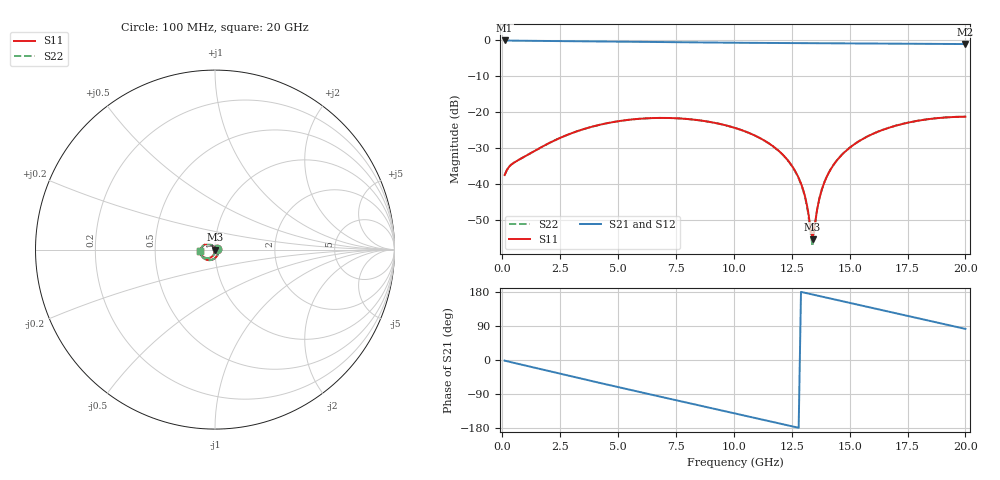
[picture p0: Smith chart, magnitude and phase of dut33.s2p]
! Touchstone file exported from HFSS 2026.1.0
!  File:  C:/ffzhzh/LocalFiles/Ansys_Project_Files/temp_train_TSV_RDL_33_1782964521_45568.aedt
!  Generated:  12:03:21 PM Jul  2, 2026
!  Design:  TSV_RDL
!  Project:  temp_train_TSV_RDL_33_1782964521_45568
! Variables:
!  h_bsmrdl = 3.5um
!  h_ox = 20um
!  h_rdl = 5um
!  h_sub = 89.86um
!  h_tmrdl = 5.18um
!  h_tsv = 89.86um
!  h_via = 3um
!  l_bsmrdl = 119.8um
!  l_sub = 4625.98um
!  l_tmrdl = 930.81um
!  m_sub = 200um
!  pitch = 34.4um
!  r_tsv = 12.16um
!  s_tmrdl = 10um
!  w_bsmrdl = 18.03um
!  w_sub = 500um
!  w_tmrdl = 29.75um
!  x_tsv_center1 = 945.685um
!  x_tsv_center2 = 1083.515um
!  x_tsv_center3 = 2044.075um
!  x_tsv_center4 = 2181.905um
!  x_tsv_center5 = 3142.465um
!  x_tsv_center6 = 3280.295um
# GHz S MA R 50.000000
! Terminal data exported
! Port[1] = TM_RDL1_1_T1
! Port[2] = TM_RDL5_1_T1
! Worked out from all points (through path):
!   200 points, 100 MHz to 20 GHz, reference 50 ohm
!   highest |S21| = -0.11 dB at 100 MHz (marker M1); lowest = -1.1 dB at 20 GHz (marker M2)
!   group delay of S21, straight-line fit = 38.4 ps
!   lowest |S11| = -55.4 dB at 13.4 GHz (marker M3), VSWR 1.00, Z = 49.8 - j0.0384 ohm
!   |S11| at or under -10 dB: start of sweep to end of sweep
!   |S22| runs from -57.3 to -21.3 dB; largest |S21 - S12| = 2.9e-14
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0.1  0.01323 7.2  0.9869 -1.6  0.9869 -1.6  0.01323 7.2
! Gamma 0 0 0 0
! Port Impedance 50 0 50 0
0.6  0.02058 -20.2  0.9796 -8.9  0.9796 -8.9  0.02058 -20.2
2  0.03657 -71.3  0.9712 -29.1  0.9712 -29.1  0.03657 -71.3
3.5  0.05751 -104.3  0.9592 -50.4  0.9592 -50.4  0.05751 -104.3
5.2  0.07586 -134.9  0.9453 -74.3  0.9453 -74.3  0.07585 -134.9
6.8  0.08258 -161.0  0.9336 -96.4  0.9336 -96.4  0.08256 -161.0
8.4  0.07729 174.4  0.9242 -118.4  0.9242 -118.4  0.07725 174.3
10.1  0.05927 149.5  0.9167 -141.8  0.9167 -141.8  0.0592 149.3
11.5  0.03679 130.0  0.9118 -161.0  0.9118 -161.0  0.03669 129.6
12.5  0.01797 118.4  0.9086 -174.8  0.9086 -174.8  0.01783 117.4
12.9  0.0101 116.9  0.9073 179.7  0.9073 179.7  0.009941 115.1
13.1  0.006189 120.2  0.9066 176.9  0.9066 176.9  0.005991 117.4
13.2  0.00429 126.2  0.9063 175.6  0.9063 175.6  0.004054 122.3
13.4  0.001701 -166.9  0.9056 172.8  0.9056 172.8  0.001358 -161.1
13.6  0.004461 -105.2  0.905 170.0  0.905 170.0  0.004452 -100.3
13.7  0.006371 -99.7  0.9046 168.7  0.9046 168.7  0.006404 -96.3
13.9  0.0103 -96.6  0.9039 165.9  0.9039 165.9  0.01037 -94.4
14.2  0.01624 -97.4  0.9029 161.8  0.9029 161.8  0.01634 -96.0
15.2  0.03544 -108.4  0.8992 148.0  0.8992 148.0  0.03556 -107.7
16.7  0.06031 -128.3  0.893 127.3  0.893 127.3  0.06045 -127.9
18.4  0.07933 -151.6  0.8857 104.0  0.8857 104.0  0.07946 -151.3
20  0.08586 -173.5  0.8793 82.1  0.8793 82.1  0.08596 -173.2
